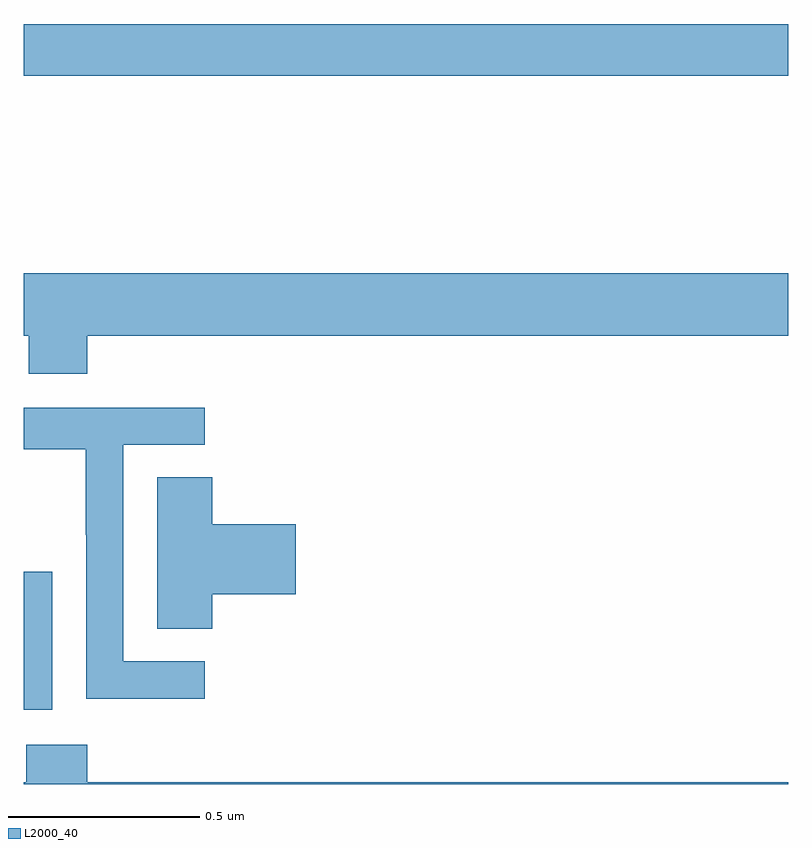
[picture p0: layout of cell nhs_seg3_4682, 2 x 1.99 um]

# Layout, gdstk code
import gdstk
lib = gdstk.Library(unit=1e-6, precision=1e-09)
def R(c, l, rs):  # rectangles x0, y0, x1, y1
    for r in rs: c.add(gdstk.rectangle(r[:2], r[2:], *l))
def P(c, l, *ps):  # polygons
    for p in ps: c.add(gdstk.Polygon(p, *l))
L2000_40 = (2000, 40)

nhs_seg3_4682 = lib.new_cell('nhs_seg3_4682')
R(nhs_seg3_4682, L2000_40, [(169,710.594,169.075,710.955), (169,712.252,171,712.388)])
P(nhs_seg3_4682, L2000_40, [(169.166,711.572),(171,711.572),(171,711.736),(169,711.736),(169,711.572),(169.013,711.572),(169.013,711.473),(169.166,711.473)],
  [(169.474,710.721),(169.26,710.721),(169.26,711.288),(169.474,711.288),(169.474,711.384),(169,711.384),(169,711.276),(169.162,711.276),(169.162,711.052),(169.164,711.052),(169.164,710.623),(169.474,710.623)],
  [(169.493,710.897),(169.711,710.897),(169.711,711.08),(169.493,711.08),(169.493,711.203),(169.349,711.203),(169.349,710.806),(169.493,710.806)],
  [(171,710.404),(169.166,710.404),(169.166,710.503),(169.006,710.503),(169.006,710.404),(169,710.404),(169,710.4),(171,710.4)])

lib.write_gds('nhs_seg3_4682.gds')
